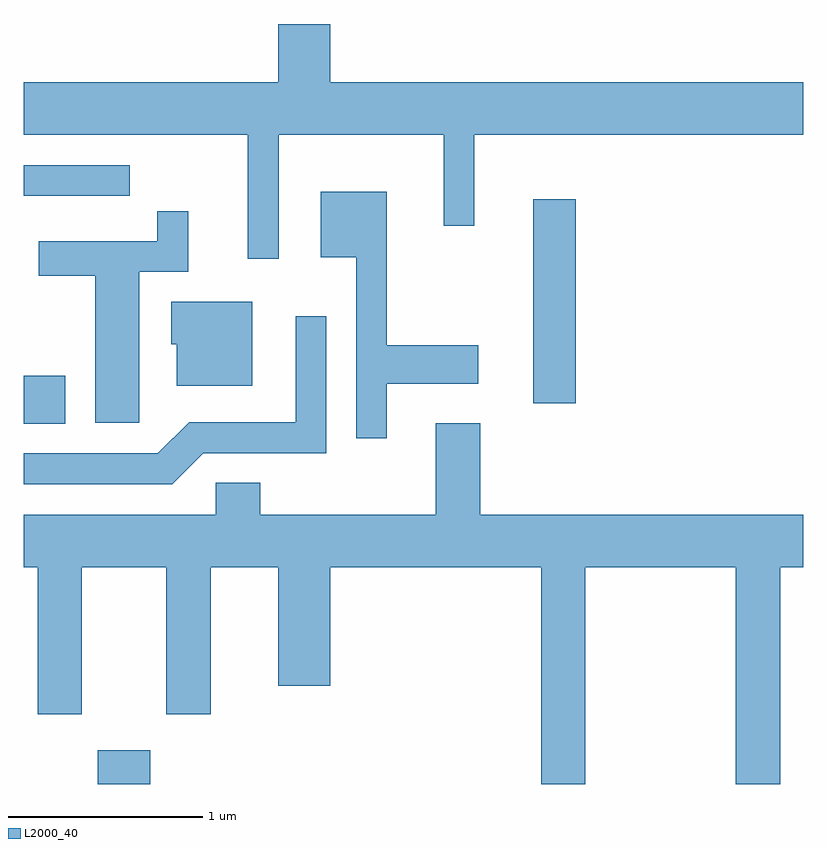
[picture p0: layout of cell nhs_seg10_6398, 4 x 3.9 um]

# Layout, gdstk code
import gdstk
lib = gdstk.Library(unit=1e-6, precision=1e-09)
def R(c, l, rs):  # rectangles x0, y0, x1, y1
    for r in rs: c.add(gdstk.rectangle(r[:2], r[2:], *l))
def P(c, l, *ps):  # polygons
    for p in ps: c.add(gdstk.Polygon(p, *l))
L2000_40 = (2000, 40)

nhs_seg10_6398 = lib.new_cell('nhs_seg10_6398')
R(nhs_seg10_6398, L2000_40, [(373.991,2170.522,374.259,2170.694), (373.611,2172.371,373.824,2172.619), (376.226,2172.476,376.444,2173.524), (373.611,2173.541,374.153,2173.699)])
P(nhs_seg10_6398, L2000_40, [(374.919,2173.856),(375.766,2173.856),(375.766,2173.388),(375.924,2173.388),(375.924,2173.856),(377.611,2173.856),(377.611,2174.124),(375.184,2174.124),(375.184,2174.424),(374.916,2174.424),(374.916,2174.124),(373.611,2174.124),(373.611,2173.856),(374.761,2173.856),(374.761,2173.218),(374.919,2173.218)],
  [(375.474,2172.576),(375.944,2172.576),(375.944,2172.774),(375.474,2172.774),(375.474,2173.564),(375.136,2173.564),(375.136,2173.226),(375.316,2173.226),(375.316,2172.298),(375.474,2172.298)],
  [(374.204,2173.151),(374.454,2173.151),(374.454,2173.463),(374.296,2173.463),(374.296,2173.309),(373.686,2173.309),(373.686,2173.131),(373.976,2173.131),(373.976,2172.376),(374.204,2172.376)],
  [(374.784,2172.999),(374.366,2172.999),(374.366,2172.781),(374.396,2172.781),(374.396,2172.566),(374.784,2172.566)],
  [(374.532,2172.221),(375.164,2172.221),(375.164,2172.923),(375.006,2172.923),(375.006,2172.379),(374.459,2172.379),(374.299,2172.219),(373.611,2172.219),(373.611,2172.061),(374.372,2172.061)],
  [(376.494,2171.636),(377.266,2171.636),(377.266,2170.522),(377.494,2170.522),(377.494,2171.636),(377.611,2171.636),(377.611,2171.904),(375.954,2171.904),(375.954,2172.374),(375.726,2172.374),(375.726,2171.904),(374.824,2171.904),(374.824,2172.069),(374.596,2172.069),(374.596,2171.904),(373.611,2171.904),(373.611,2171.636),(373.681,2171.636),(373.681,2170.881),(373.909,2170.881),(373.909,2171.636),(374.341,2171.636),(374.341,2170.881),(374.569,2170.881),(374.569,2171.636),(374.916,2171.636),(374.916,2171.026),(375.184,2171.026),(375.184,2171.636),(376.266,2171.636),(376.266,2170.522),(376.494,2170.522)])

lib.write_gds('nhs_seg10_6398.gds')
